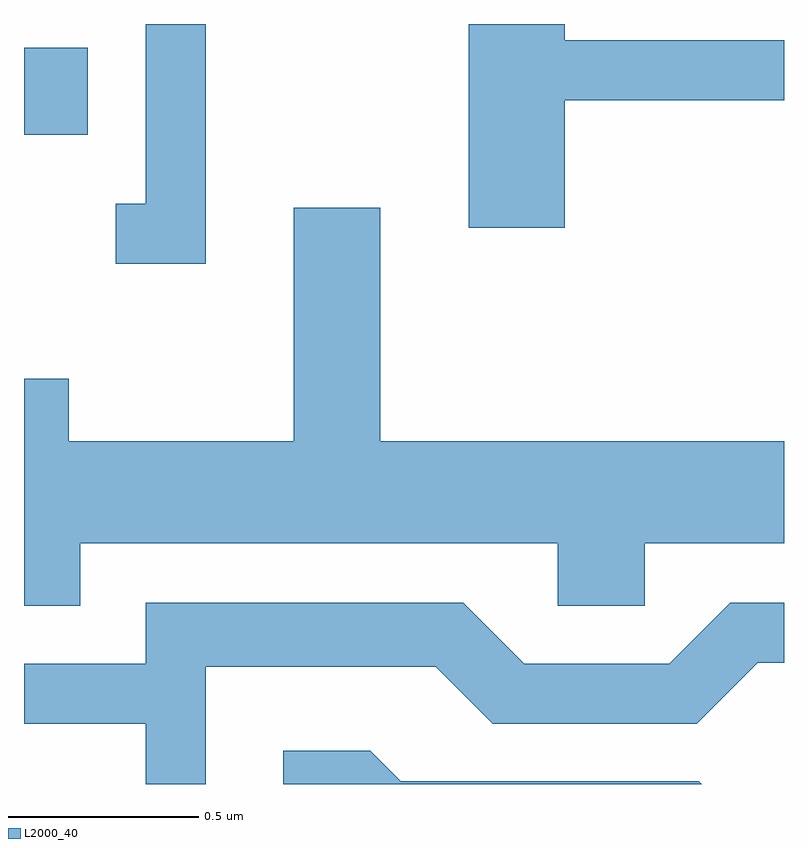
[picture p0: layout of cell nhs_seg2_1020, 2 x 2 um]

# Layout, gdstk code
import gdstk
lib = gdstk.Library(unit=1e-6, precision=1e-09)
def R(c, l, rs):  # rectangles x0, y0, x1, y1
    for r in rs: c.add(gdstk.rectangle(r[:2], r[2:], *l))
def P(c, l, *ps):  # polygons
    for p in ps: c.add(gdstk.Polygon(p, *l))
L2000_40 = (2000, 40)

nhs_seg2_1020 = lib.new_cell('nhs_seg2_1020')
R(nhs_seg2_1020, L2000_40, [(192.611,1040.511,192.779,1040.739)])
P(nhs_seg2_1020, L2000_40, [(193.089,1040.802),(192.931,1040.802),(192.931,1040.329),(192.853,1040.329),(192.853,1040.171),(193.089,1040.171)],
  [(194.034,1040.601),(194.611,1040.601),(194.611,1040.759),(194.034,1040.759),(194.034,1040.802),(193.781,1040.802),(193.781,1040.266),(194.034,1040.266)],
  [(192.759,1039.436),(194.016,1039.436),(194.016,1039.271),(194.244,1039.271),(194.244,1039.436),(194.611,1039.436),(194.611,1039.704),(193.549,1039.704),(193.549,1040.319),(193.321,1040.319),(193.321,1039.704),(192.729,1039.704),(192.729,1039.869),(192.611,1039.869),(192.611,1039.271),(192.759,1039.271)],
  [(193.089,1039.111),(193.694,1039.111),(193.844,1038.961),(194.382,1038.961),(194.542,1039.121),(194.611,1039.121),(194.611,1039.279),(194.469,1039.279),(194.309,1039.119),(193.927,1039.119),(193.767,1039.279),(192.931,1039.279),(192.931,1039.119),(192.611,1039.119),(192.611,1038.961),(192.931,1038.961),(192.931,1038.802),(193.089,1038.802)],
  [(194.387,1038.809),(193.602,1038.809),(193.522,1038.889),(193.293,1038.889),(193.293,1038.802),(194.394,1038.802)])

lib.write_gds('nhs_seg2_1020.gds')
